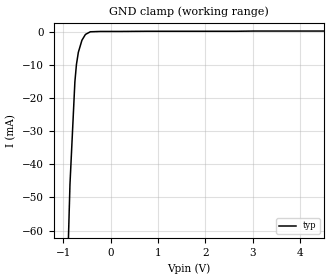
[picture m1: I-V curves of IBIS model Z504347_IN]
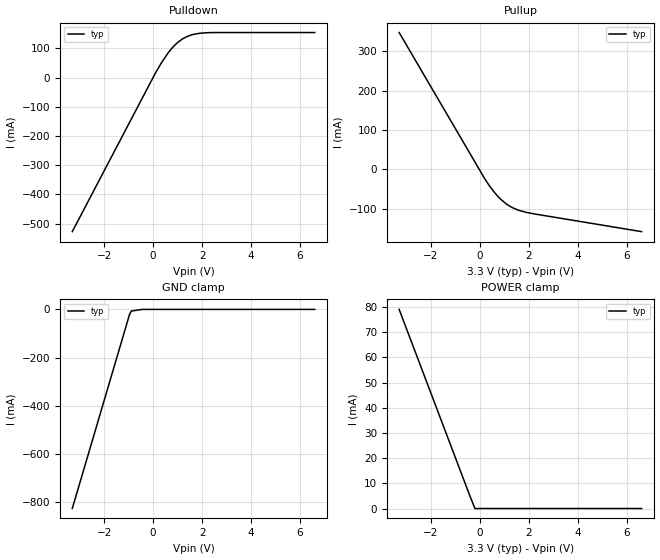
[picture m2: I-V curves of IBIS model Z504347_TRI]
| YOU ARE ONLY AUTHORIZED TO USE THIS SOFTWARE
| ACCORDING TO LICENSOR'S LICENSE RESTRICTIONS.
[IBIS Ver] 3.1
[File Name] mc74lcx540dw.ibs
[File Rev] 2.0
[Source] Measured and created by ICX Technology
[Date] Friday 7/14/00 9:08:12 AM
[Copyright]
| (C) COPYRIGHT 1993-2000
| MENTOR GRAPHICS CORPORATION
| ICX STANDARD LIBRARY, ICX PROJECT MODELING,
| ICX CUSTOM MODELING, ICX VENDOR MODEL
| ALL RIGHTS RESERVED.
| THE FOLLOWING ARE TRADEMARKS OR SERVICE MARKS OF
| MENTOR GRAPHICS CORPORATION:ICX (R), ICX STANDARD
| LIBRARY(R), ICX PROJECT MODELING(R), ICX CUSTOM
| MODELING(R), qualityIBIS(TM), MODELVIEWER(TM),
| AND MODELEDITOR(TM)
| ALL COPIES OF SOFTWARE, INCLUDING BUT NOT LIMITED TO
| ANY MODIFICATIONS, ENHANCEMENTS OR DERIVATIVE WORKS,
| MUST CONTAIN ALL MENTOR GRAPHICS CORPORATION'S
| NOTICES AND LEGENDS, INCLUDING THOSE EMBEDDED IN
| SOFTWARE AND THOSE AFFIXED TO SOFTWARE MEDIUM
| AND CONTAINER, AS RECEIVED FROM MENTOR GRAPHICS
| CORPORATION.
|  ZAP Model Builder 2.7
[Component] MC74LCX540DW
[Manufacturer] OnSemiconductor
[Package]
| variable   typ   min   max
R_pkg  .178ohms NA NA
L_pkg  4.43nH NA NA
C_pkg  .62pF NA NA
[Pin] signal_name  model_name  R_pin  L_pin C_pin
1 _G1 Z504347_IN .186 5.37n .68p
2 A0 Z504347_IN .182 4.89n .65p
3 A1 Z504347_IN .178 4.42n .62p
4 A2 Z504347_IN .174 3.96n .59p
5 A3 Z504347_IN .17 3.51n .56p
6 A4 Z504347_IN .17 3.51n .56p
7 A5 Z504347_IN .174 3.96n .59p
8 A6 Z504347_IN .178 4.42n .62p
9 A7 Z504347_IN .182 4.89n .65p
10 GROUND GND .186 5.37n .68p
11 _Y7 Z504347_TRI .186 5.37n .68p
12 _Y6 Z504347_TRI .182 4.89n .65p
13 _Y5 Z504347_TRI .178 4.42n .62p
14 _Y4 Z504347_TRI .174 3.96n .59p
15 _Y3 Z504347_TRI .17 3.51n .56p
16 _Y2 Z504347_TRI .17 3.51n .56p
17 _Y1 Z504347_TRI .174 3.96n .59p
18 _Y0 Z504347_TRI .178 4.42n .62p
19 _G2 Z504347_IN .182 4.89n .65p
20 VCC POWER .186 5.37n .68p
| Models and submodels in the file (2): Z504347_IN (Input), Z504347_TRI (3-state)
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| (C) COPYRIGHT 1993-2000
| MENTOR GRAPHICS CORPORATION
| ICX STANDARD LIBRARY, ICX PROJECT MODELING,
| ICX CUSTOM MODELING, ICX VENDOR MODEL
| ALL RIGHTS RESERVED.
| THE FOLLOWING ARE TRADEMARKS OR SERVICE MARKS OF
| MENTOR GRAPHICS CORPORATION:ICX (R), ICX STANDARD
| LIBRARY(R), ICX PROJECT MODELING(R), ICX CUSTOM
| MODELING(R), qualityIBIS(TM), MODELVIEWER(TM),
| AND MODELEDITOR(TM)
| ALL COPIES OF SOFTWARE, INCLUDING BUT NOT LIMITED TO
| ANY MODIFICATIONS, ENHANCEMENTS OR DERIVATIVE WORKS,
| MUST CONTAIN ALL MENTOR GRAPHICS CORPORATION'S
| NOTICES AND LEGENDS, INCLUDING THOSE EMBEDDED IN
| SOFTWARE AND THOSE AFFIXED TO SOFTWARE MEDIUM
| AND CONTAINER, AS RECEIVED FROM MENTOR GRAPHICS
| CORPORATION.
| Model Application Version 1.89 2/18/99.
[Model] Z504347_IN
Model_type Input
Vinl = 800.0mV
Vinh = 2.000V
C_comp 4.000pF NA NA
| variable typ   min   max
[Voltage Range] 3.300V NA NA
[GND Clamp Reference] 0.000V NA NA
[POWER Clamp Reference] 3.300V NA NA
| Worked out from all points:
|   GND clamp passes 1 mA (typ) near -0.54 V on its own axis
[GND Clamp]
-3.3V     -1.573A    NA         NA
-1.016V   -125mA     NA         NA
-859mV    -46.02mA   NA         NA
-755.2mV  -15.04mA   NA         NA
-722.4mV  -9.807mA   NA         NA
-682.1mV  -6.136mA   NA         NA
-606.6mV  -2.496mA   NA         NA
-532.2mV  -734.1uA   NA         NA
-429.7mV  62.06uA    NA         NA
6.6V      284.9uA    NA         NA
[POWER Clamp]
-3.3V     0A         NA         NA
6.6V      0A         NA         NA
| (C) COPYRIGHT 1993-2000
| MENTOR GRAPHICS CORPORATION
| ICX STANDARD LIBRARY, ICX PROJECT MODELING,
| ICX CUSTOM MODELING, ICX VENDOR MODEL
| ALL RIGHTS RESERVED.
| THE FOLLOWING ARE TRADEMARKS OR SERVICE MARKS OF
| MENTOR GRAPHICS CORPORATION:ICX (R), ICX STANDARD
| LIBRARY(R), ICX PROJECT MODELING(R), ICX CUSTOM
| MODELING(R), qualityIBIS(TM), MODELVIEWER(TM),
| AND MODELEDITOR(TM)
| ALL COPIES OF SOFTWARE, INCLUDING BUT NOT LIMITED TO
| ANY MODIFICATIONS, ENHANCEMENTS OR DERIVATIVE WORKS,
| MUST CONTAIN ALL MENTOR GRAPHICS CORPORATION'S
| NOTICES AND LEGENDS, INCLUDING THOSE EMBEDDED IN
| SOFTWARE AND THOSE AFFIXED TO SOFTWARE MEDIUM
| AND CONTAINER, AS RECEIVED FROM MENTOR GRAPHICS
| CORPORATION.
| Model Application Version 1.89 2/18/99.
[Model] Z504347_TRI
Model_type 3-state
Vref=0.000V
Rref=500.0ohms
Cref=50.00pF
Vmeas=1.500V
C_comp 8.000pF NA NA
| variable typ   min   max
[Voltage Range] 3.300V NA NA
[POWER Clamp Reference] 3.300V NA NA
[Pullup Reference] 3.300V NA NA
[Pulldown Reference] 0.000V NA NA
[GND Clamp Reference] 0.000V NA NA
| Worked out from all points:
|   slope of the pulldown table from 0 to 0.495 V, typ, clamps not added: 7.12 ohm
|   slope of the pullup table from 0 to 0.495 V, typ, clamps not added: 10.4 ohm
|   POWER clamp passes 1 mA (typ) near -0.25 V on its own axis
[GND Clamp]
-3.3V     -827.4mA   NA         NA
-961.9mV  -20.8mA    NA         NA
-888.7mV  -6.7mA     NA         NA
-444.4mV  0A         NA         NA
6.6V      0A         NA         NA
[Pulldown]
-3.3V     -527.3mA   NA         NA
89.65mV   14.49mA    NA         NA
351.6mV   52.01mA    NA         NA
630.7mV   86.4mA     NA         NA
1.015V    120.9mA    NA         NA
1.411V    141.2mA    NA         NA
1.685V    148.3mA    NA         NA
2.1V      152.8mA    NA         NA
6.6V      154mA      NA         NA
[Pullup]
-3.3V     347.9mA    NA         NA
209mV     -25.05mA   NA         NA
594mV     -58.51mA   NA         NA
874mV     -77.16mA   NA         NA
1.083V    -87.88mA   NA         NA
1.45V     -100.5mA   NA         NA
1.919V    -109.3mA   NA         NA
6.6V      -157.9mA   NA         NA
[POWER Clamp]
-3.3V     79.07mA    NA         NA
-411mV    4.993mA    NA         NA
-205.5mV  0A         NA         NA
6.6V      0A         NA         NA
[Ramp]
| variable typ min max
dV/dt_r 1.960/369.9p NA NA
dV/dt_f 1.960/1.211n NA NA
R_load = 500.0Ohms
